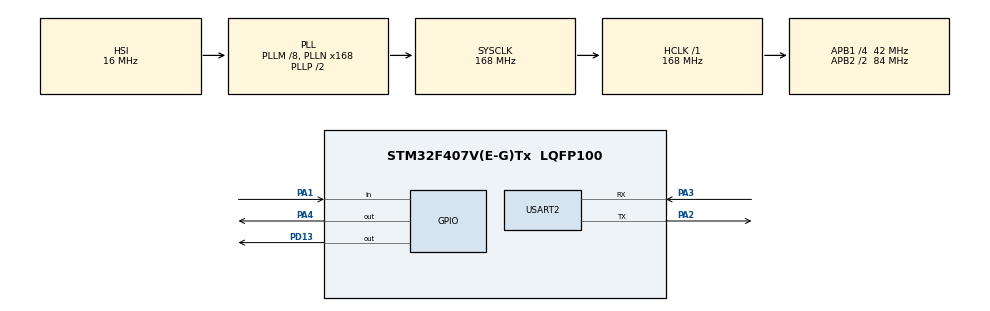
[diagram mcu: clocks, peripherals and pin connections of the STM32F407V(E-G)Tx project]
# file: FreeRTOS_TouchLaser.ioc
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FREERTOS.Queues01=laserQueue,5,uint32_t,0,Dynamic,NULL,NULL;uartQueue,5,uint32_t,0,Dynamic,NULL,NULL
FREERTOS.Tasks01=touchTask,24,128,StartTouchTask,Default,NULL,Dynamic,NULL,NULL;laserTask,24,128,StartLaserTask,Default,NULL,Dynamic,NULL,NULL;uartTask,24,128,StartUartTask,Default,NULL,Dynamic,NULL,NULL
FREERTOS.configUSE_NEWLIB_REENTRANT=1
Mcu.Family=STM32F4
Mcu.Name=STM32F407V(E-G)Tx
Mcu.Package=LQFP100
NVIC.PriorityGroup=NVIC_PRIORITYGROUP_4
NVIC.TIM1_UP_TIM10_IRQn=true\:15\:0\:false\:false\:true\:false\:false\:true\:true
NVIC.TimeBase=TIM1_UP_TIM10_IRQn
NVIC.TimeBaseIP=TIM1
PA1.Signal=GPIO_Input
PA2.Mode=Asynchronous
PA2.Signal=USART2_TX
PA3.Mode=Asynchronous
PA3.Signal=USART2_RX
PA4.Signal=GPIO_Output
PD13.Signal=GPIO_Output
ProjectManager.HeapSize=0x200
ProjectManager.StackSize=0x400
ProjectManager.TargetToolchain=STM32CubeIDE
RCC.48MHZClocksFreq_Value=84000000
RCC.AHBFreq_Value=168000000
RCC.APB1CLKDivider=RCC_HCLK_DIV4
RCC.APB1Freq_Value=42000000
RCC.APB1TimFreq_Value=84000000
RCC.APB2CLKDivider=RCC_HCLK_DIV2
RCC.APB2Freq_Value=84000000
RCC.APB2TimFreq_Value=168000000
RCC.CortexFreq_Value=168000000
RCC.HCLKFreq_Value=168000000
RCC.HSE_VALUE=25000000
RCC.HSI_VALUE=16000000
RCC.LSE_VALUE=32768
RCC.PLLM=8
RCC.PLLN=168
RCC.SYSCLKFreq_VALUE=168000000
RCC.SYSCLKSource=RCC_SYSCLKSOURCE_PLLCLK
RCC.VCOOutputFreq_Value=336000000
USART2.VirtualMode=VM_ASYNC
VP_FREERTOS_VS_CMSIS_V2.Mode=CMSIS_V2
VP_SYS_VS_tim1.Mode=TIM1
board=custom

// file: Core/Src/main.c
/* USER CODE BEGIN Header */
/**
  ******************************************************************************
  * @file           : main.c
  * @brief          : Main program body
  ******************************************************************************
  * @attention
  *
  * Copyright (c) 2026 STMicroelectronics.
  * All rights reserved.
  *
  * This software is licensed under terms that can be found in the LICENSE file
  * in the root directory of this software component.
  * If no LICENSE file comes with this software, it is provided AS-IS.
  *
  ******************************************************************************
  */
/* USER CODE END Header */
#include "main.h"
#include "cmsis_os.h"

/* USER CODE BEGIN Includes */
#include <stdio.h>
/* USER CODE END Includes */

UART_HandleTypeDef huart2;

/* Definitions for touchTask */
osThreadId_t touchTaskHandle;
const osThreadAttr_t touchTask_attributes = {
  .name = "touchTask",
  .stack_size = 128 * 4,
  .priority = (osPriority_t) osPriorityNormal,
};
/* Definitions for laserTask */
osThreadId_t laserTaskHandle;
const osThreadAttr_t laserTask_attributes = {
  .name = "laserTask",
  .stack_size = 128 * 4,
  .priority = (osPriority_t) osPriorityNormal,
};
/* Definitions for uartTask */
osThreadId_t uartTaskHandle;
const osThreadAttr_t uartTask_attributes = {
  .name = "uartTask",
  .stack_size = 128 * 4,
  .priority = (osPriority_t) osPriorityNormal,
};
/* Definitions for laserQueue */
osMessageQueueId_t laserQueueHandle;
const osMessageQueueAttr_t laserQueue_attributes = {
  .name = "laserQueue"
};
/* Definitions for uartQueue */
osMessageQueueId_t uartQueueHandle;
const osMessageQueueAttr_t uartQueue_attributes = {
  .name = "uartQueue"
};

void SystemClock_Config(void);
static void MX_GPIO_Init(void);
static void MX_USART2_UART_Init(void);
void StartTouchTask(void *argument);
void StartLaserTask(void *argument);
void StartUartTask(void *argument);

int main(void)
{

  /* MCU Configuration--------------------------------------------------------*/

  /* Reset of all peripherals, Initializes the Flash interface and the Systick. */
  HAL_Init();

  /* Configure the system clock */
  SystemClock_Config();

  /* Initialize all configured peripherals */
  MX_GPIO_Init();
  MX_USART2_UART_Init();

  /* Init scheduler */
  osKernelInitialize();

  /* Create the queue(s) */
  /* creation of laserQueue */
  laserQueueHandle = osMessageQueueNew (5, sizeof(uint32_t), &laserQueue_attributes);

  /* creation of uartQueue */
  uartQueueHandle = osMessageQueueNew (5, sizeof(uint32_t), &uartQueue_attributes);

  /* Create the thread(s) */
  /* creation of touchTask */
  touchTaskHandle = osThreadNew(StartTouchTask, NULL, &touchTask_attributes);

  /* creation of laserTask */
  laserTaskHandle = osThreadNew(StartLaserTask, NULL, &laserTask_attributes);

  /* creation of uartTask */
  uartTaskHandle = osThreadNew(StartUartTask, NULL, &uartTask_attributes);

  /* Start scheduler */
  osKernelStart();

  /* We should never get here as control is now taken by the scheduler */

  /* Infinite loop */
  while (1)
  {

  }
}

void SystemClock_Config(void)
{
  RCC_OscInitTypeDef RCC_OscInitStruct = {0};
  RCC_ClkInitTypeDef RCC_ClkInitStruct = {0};

  /** Configure the main internal regulator output voltage
  */
  __HAL_RCC_PWR_CLK_ENABLE();
  __HAL_PWR_VOLTAGESCALING_CONFIG(PWR_REGULATOR_VOLTAGE_SCALE1);

  /** Initializes the RCC Oscillators according to the specified parameters
  * in the RCC_OscInitTypeDef structure.
  */
  RCC_OscInitStruct.OscillatorType = RCC_OSCILLATORTYPE_HSI;
  RCC_OscInitStruct.HSIState = RCC_HSI_ON;
  RCC_OscInitStruct.HSICalibrationValue = RCC_HSICALIBRATION_DEFAULT;
  RCC_OscInitStruct.PLL.PLLState = RCC_PLL_ON;
  RCC_OscInitStruct.PLL.PLLSource = RCC_PLLSOURCE_HSI;
  RCC_OscInitStruct.PLL.PLLM = 8;
  RCC_OscInitStruct.PLL.PLLN = 168;
  RCC_OscInitStruct.PLL.PLLP = RCC_PLLP_DIV2;
  RCC_OscInitStruct.PLL.PLLQ = 4;
  if (HAL_RCC_OscConfig(&RCC_OscInitStruct) != HAL_OK)
  {
    Error_Handler();
  }

  /** Initializes the CPU, AHB and APB buses clocks
  */
  RCC_ClkInitStruct.ClockType = RCC_CLOCKTYPE_HCLK|RCC_CLOCKTYPE_SYSCLK
                              |RCC_CLOCKTYPE_PCLK1|RCC_CLOCKTYPE_PCLK2;
  RCC_ClkInitStruct.SYSCLKSource = RCC_SYSCLKSOURCE_PLLCLK;
  RCC_ClkInitStruct.AHBCLKDivider = RCC_SYSCLK_DIV1;
  RCC_ClkInitStruct.APB1CLKDivider = RCC_HCLK_DIV4;
  RCC_ClkInitStruct.APB2CLKDivider = RCC_HCLK_DIV2;

  if (HAL_RCC_ClockConfig(&RCC_ClkInitStruct, FLASH_LATENCY_5) != HAL_OK)
  {
    Error_Handler();
  }
}

static void MX_USART2_UART_Init(void)
{

  huart2.Instance = USART2;
  huart2.Init.BaudRate = 115200;
  huart2.Init.WordLength = UART_WORDLENGTH_8B;
  huart2.Init.StopBits = UART_STOPBITS_1;
  huart2.Init.Parity = UART_PARITY_NONE;
  huart2.Init.Mode = UART_MODE_TX_RX;
  huart2.Init.HwFlowCtl = UART_HWCONTROL_NONE;
  huart2.Init.OverSampling = UART_OVERSAMPLING_16;
  if (HAL_UART_Init(&huart2) != HAL_OK)
  {
    Error_Handler();
  }

}

static void MX_GPIO_Init(void)
{
  GPIO_InitTypeDef GPIO_InitStruct = {0};

  /* GPIO Ports Clock Enable */
  __HAL_RCC_GPIOA_CLK_ENABLE();
  __HAL_RCC_GPIOD_CLK_ENABLE();

  /*Configure GPIO pin Output Level */
  HAL_GPIO_WritePin(GPIOA, GPIO_PIN_4, GPIO_PIN_RESET);

  /*Configure GPIO pin Output Level */
  HAL_GPIO_WritePin(GPIOD, GPIO_PIN_13, GPIO_PIN_RESET);

  /*Configure GPIO pin : PA1 */
  GPIO_InitStruct.Pin = GPIO_PIN_1;
  GPIO_InitStruct.Mode = GPIO_MODE_INPUT;
  GPIO_InitStruct.Pull = GPIO_NOPULL;
  HAL_GPIO_Init(GPIOA, &GPIO_InitStruct);

  /*Configure GPIO pin : PA4 */
  GPIO_InitStruct.Pin = GPIO_PIN_4;
  GPIO_InitStruct.Mode = GPIO_MODE_OUTPUT_PP;
  GPIO_InitStruct.Pull = GPIO_NOPULL;
  GPIO_InitStruct.Speed = GPIO_SPEED_FREQ_LOW;
  HAL_GPIO_Init(GPIOA, &GPIO_InitStruct);

  /*Configure GPIO pin : PD13 */
  GPIO_InitStruct.Pin = GPIO_PIN_13;
  GPIO_InitStruct.Mode = GPIO_MODE_OUTPUT_PP;
  GPIO_InitStruct.Pull = GPIO_NOPULL;
  GPIO_InitStruct.Speed = GPIO_SPEED_FREQ_LOW;
  HAL_GPIO_Init(GPIOD, &GPIO_InitStruct);

}

/* USER CODE BEGIN 4 */
int _write(int file, char *ptr, int len)
{
    HAL_UART_Transmit(&huart2, (uint8_t*)ptr, len, HAL_MAX_DELAY);
    return len;
}
/* USER CODE END 4 */

void StartTouchTask(void *argument)
{
  /* USER CODE BEGIN 5 */
  /* Infinite loop */
	  uint32_t lastState = 0;
  for(;;)
  {
	  uint32_t state = HAL_GPIO_ReadPin(GPIOA, GPIO_PIN_1);
	      if(state != lastState)
	      {
	        osMessageQueuePut(laserQueueHandle, &state, 0, 0);
	        osMessageQueuePut(uartQueueHandle, &state, 0, 0);
	        lastState = state;
	      }
	      osDelay(50);
  }
  /* USER CODE END 5 */
}

void StartLaserTask(void *argument)
{
  /* USER CODE BEGIN StartLaserTask */
  /* Infinite loop */
	HAL_GPIO_WritePin(GPIOD, GPIO_PIN_2, GPIO_PIN_SET);
	osDelay(2000);
	HAL_GPIO_WritePin(GPIOD, GPIO_PIN_2, GPIO_PIN_RESET);
  for(;;)
  {
	  uint32_t state;
	  osMessageQueueGet(laserQueueHandle, &state, 0, osWaitForever);
	  HAL_GPIO_WritePin(GPIOD, GPIO_PIN_2, state);
	  HAL_GPIO_TogglePin(GPIOD, GPIO_PIN_13);
  }
  /* USER CODE END StartLaserTask */
}

void StartUartTask(void *argument)
{
  /* USER CODE BEGIN StartUartTask */
  /* Infinite loop */
  for(;;)
  {
	  uint32_t state;
	  osMessageQueueGet(uartQueueHandle, &state, 0, osWaitForever);
	  if(state == 1) printf("Touch detected\r\n");
	  else printf("Touch released\r\n");
  }
  /* USER CODE END StartUartTask */
}

void HAL_TIM_PeriodElapsedCallback(TIM_HandleTypeDef *htim)
{
  if (htim->Instance == TIM1)
  {
    HAL_IncTick();
  }
}

void Error_Handler(void)
{
  __disable_irq();
  while (1)
  {
  }
}
